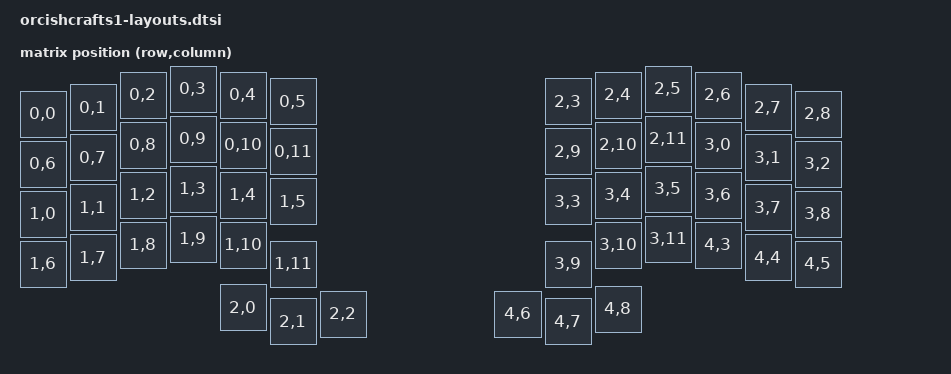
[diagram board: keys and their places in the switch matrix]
/*
 * OrcishCrafts1 Unified Layout & Matrix Transform Profile
 * Matches 6x4 Grid per side + 3 Inner Thumb Keys per Half (54 Total)
 */

#include <physical_layouts.dtsi>
#include <dt-bindings/zmk/matrix_transform.h>

/ {
    /* 1. CORE SYSTEM ASSIGNMENT: Links the keyboard straight to the layout schema below */
    chosen {
        zmk,physical-layout = &physical_layout_orcishcrafts1;
    };

    /* 2. TRANSLATION MATRIX TRANSFORM MAP (YOUR UNCHANGED BASELINE) */
    matrix_transform0: matrix_transform0 {
        compatible = "zmk,matrix-transform";
        columns = <12>;
        rows = <5>;
        map = <
            RC(0,0) RC(0,1) RC(0,2) RC(0,3) RC(0,4) RC(0,5) RC(0,6) RC(0,7) RC(0,8) RC(0,9) RC(0,10) RC(0,11)
            RC(1,0) RC(1,1) RC(1,2) RC(1,3) RC(1,4) RC(1,5) RC(1,6) RC(1,7) RC(1,8) RC(1,9) RC(1,10) RC(1,11)
            RC(2,0) RC(2,1) RC(2,2) RC(2,3) RC(2,4) RC(2,5) RC(2,6) RC(2,7) RC(2,8) RC(2,9) RC(2,10) RC(2,11)
            RC(3,0) RC(3,1) RC(3,2) RC(3,3) RC(3,4) RC(3,5) RC(3,6) RC(3,7) RC(3,8) RC(3,9) RC(3,10) RC(3,11)
            RC(4,3) RC(4,4) RC(4,5) RC(4,6) RC(4,7) RC(4,8)
        >;
    };

    /* 3. PHYSICAL GEOMETRIC VIEWPORT DEFINITIONS FOR ZMK STUDIO USER INTERFACE */
    physical_layout_orcishcrafts1: physical_layout_orcishcrafts1 {
        compatible = "zmk,physical-layout";
        display-name = "OrcishCrafts1";
        
        /* THE CRITICAL LINK: Connects this block natively to the transform right above it */
        transform = <&matrix_transform0>;

        keys 
            /* ================= LEFT SIDE MATRIX (Keys 0 to 26) ================= */
            /* ROW 1: 6 Keys */
            = <&key_physical_attrs 100 100    0   50       0     0    50> // 0
            , <&key_physical_attrs 100 100  100   37       0   100    37> // 1
            , <&key_physical_attrs 100 100  200   12       0   200    12> // 2
            , <&key_physical_attrs 100 100  300    0       0   300     0> // 3
            , <&key_physical_attrs 100 100  400   12       0   400    12> // 4
            , <&key_physical_attrs 100 100  500   25       0   500    25> // 5
            
            /* ROW 2: 6 Keys */
            , <&key_physical_attrs 100 100    0  150       0     0   150> // 6
            , <&key_physical_attrs 100 100  100  137       0   100   137> // 7
            , <&key_physical_attrs 100 100  200  112       0   200   112> // 8
            , <&key_physical_attrs 100 100  300  100       0   300   100> // 9
            , <&key_physical_attrs 100 100  400  112       0   400   112> // 10
            , <&key_physical_attrs 100 100  500  125       0   500   125> // 11
            
            /* ROW 3: 6 Keys */
            , <&key_physical_attrs 100 100    0  250       0     0   250> // 12
            , <&key_physical_attrs 100 100  100  237       0   100   237> // 13
            , <&key_physical_attrs 100 100  200  212       0   200   212> // 14
            , <&key_physical_attrs 100 100  300  200       0   300   200> // 15
            , <&key_physical_attrs 100 100  400  212       0   400   212> // 16
            , <&key_physical_attrs 100 100  500  225       0   500   225> // 17
            
            /* ROW 4: 6 Keys */
            , <&key_physical_attrs 100 100    0  350       0     0   350> // 18
            , <&key_physical_attrs 100 100  100  337       0   100   337> // 19
            , <&key_physical_attrs 100 100  200  312       0   200   312> // 20
            , <&key_physical_attrs 100 100  300  300       0   300   300> // 21
            , <&key_physical_attrs 100 100  400  312       0   400   312> // 22
            , <&key_physical_attrs 100 100  500  350       0   500   350> // 23
            
            /* ROW 5 (LEFT THUMBS): 3 Keys */
            , <&key_physical_attrs 100 100  400  437       0   400   437> // 24
            , <&key_physical_attrs 100 100  500  465       0   500   465> // 25
            , <&key_physical_attrs 100 100  600  450       0   600   450> // 26

            /* ================= RIGHT SIDE MATRIX (Keys 27 to 53) ================= */
            /* ROW 1: 6 Keys */
            , <&key_physical_attrs 100 100 1050   25       0  1050    25> // 27
            , <&key_physical_attrs 100 100 1150   12       0  1150    12> // 28
            , <&key_physical_attrs 100 100 1250    0       0  1250     0> // 29
            , <&key_physical_attrs 100 100 1350   12       0  1350    12> // 30
            , <&key_physical_attrs 100 100 1450   37       0  1450    37> // 31
            , <&key_physical_attrs 100 100 1550   50       0  1550   50>  // 32
            
            /* ROW 2: 6 Keys */
            , <&key_physical_attrs 100 100 1050  125       0  1050   125> // 33
            , <&key_physical_attrs 100 100 1150  112       0  1150   112> // 34
            , <&key_physical_attrs 100 100 1250  100       0  1250   100> // 35
            , <&key_physical_attrs 100 100 1350  112       0  1350   112> // 36
            , <&key_physical_attrs 100 100 1450  137       0  1450   137> // 37
            , <&key_physical_attrs 100 100 1550  150       0  1550   150> // 38
            
            /* ROW 3: 6 Keys */
            , <&key_physical_attrs 100 100 1050  225       0  1050   225> // 39
            , <&key_physical_attrs 100 100 1150  212       0  1150   212> // 40
            , <&key_physical_attrs 100 100 1250  200       0  1250   200> // 41
            , <&key_physical_attrs 100 100 1350  212       0  1350   212> // 42
            , <&key_physical_attrs 100 100 1450  237       0  1450   237> // 43
            , <&key_physical_attrs 100 100 1550  250       0  1550   250> // 44
            
            /* ROW 4: 6 Keys */
            , <&key_physical_attrs 100 100 1050  350       0  1050   350> // 45
            , <&key_physical_attrs 100 100 1150  312       0  1150   312> // 46
            , <&key_physical_attrs 100 100 1250  300       0  1250   300> // 47
            , <&key_physical_attrs 100 100 1350  312       0  1350   312> // 48
            , <&key_physical_attrs 100 100 1450  337       0  1450   337> // 49
            , <&key_physical_attrs 100 100 1550  350       0  1550   350> // 50
            
            /* ROW 5 (RIGHT THUMBS): 3 Keys */
            , <&key_physical_attrs 100 100  950  450       0   950   450> // 51
            , <&key_physical_attrs 100 100 1050  465       0  1050   465> // 52
            , <&key_physical_attrs 100 100 1150  440       0  1150   440> // 53
            ;
    };
};

&uicr {
    nfct-pins-as-gpios;
};
